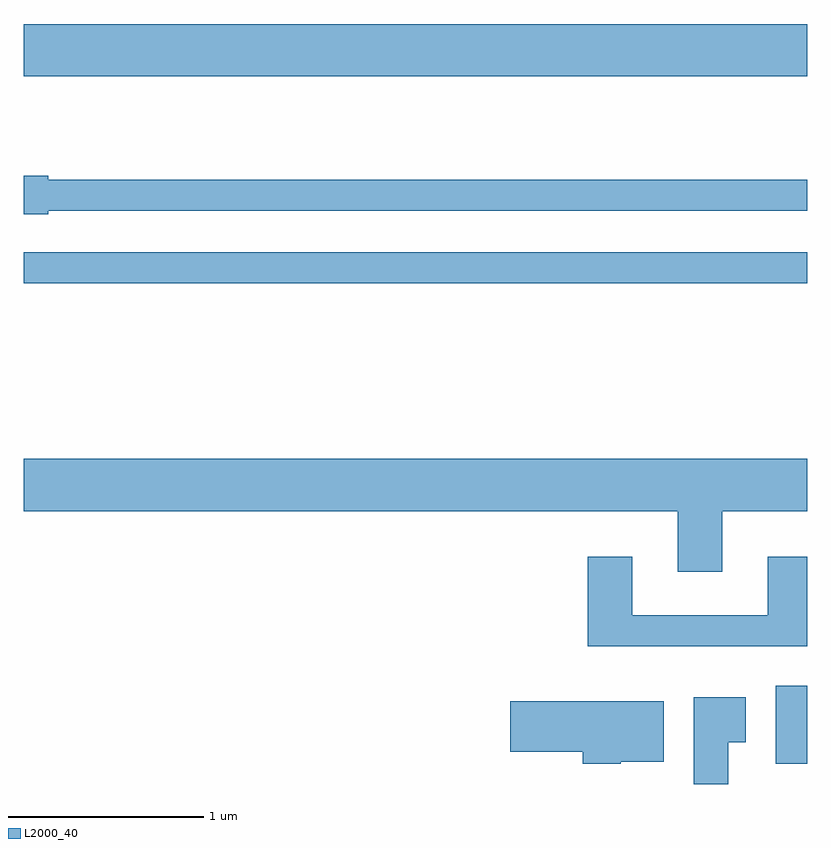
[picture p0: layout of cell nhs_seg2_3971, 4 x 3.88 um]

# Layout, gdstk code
import gdstk
lib = gdstk.Library(unit=1e-6, precision=1e-09)
def R(c, l, rs):  # rectangles x0, y0, x1, y1
    for r in rs: c.add(gdstk.rectangle(r[:2], r[2:], *l))
def P(c, l, *ps):  # polygons
    for p in ps: c.add(gdstk.Polygon(p, *l))
L2000_40 = (2000, 40)

nhs_seg2_3971 = lib.new_cell('nhs_seg2_3971')
R(nhs_seg2_3971, L2000_40, [(305.451,1055.906,305.611,1056.304), (301.611,1058.361,305.611,1058.519), (301.611,1059.416,305.611,1059.684)])
P(nhs_seg2_3971, L2000_40, [(301.734,1058.731),(305.611,1058.731),(305.611,1058.889),(301.734,1058.889),(301.734,1058.909),(301.611,1058.909),(301.611,1058.711),(301.734,1058.711)],
  [(305.179,1057.196),(305.611,1057.196),(305.611,1057.464),(301.611,1057.464),(301.611,1057.196),(304.951,1057.196),(304.951,1056.886),(305.179,1056.886)],
  [(305.611,1056.964),(305.411,1056.964),(305.411,1056.664),(304.719,1056.664),(304.719,1056.964),(304.491,1056.964),(304.491,1056.506),(305.611,1056.506)],
  [(305.209,1056.016),(305.299,1056.016),(305.299,1056.244),(305.031,1056.244),(305.031,1055.802),(305.209,1055.802)],
  [(304.66,1055.916),(304.879,1055.916),(304.879,1056.224),(304.096,1056.224),(304.096,1055.966),(304.466,1055.966),(304.466,1055.906),(304.66,1055.906)])

lib.write_gds('nhs_seg2_3971.gds')
